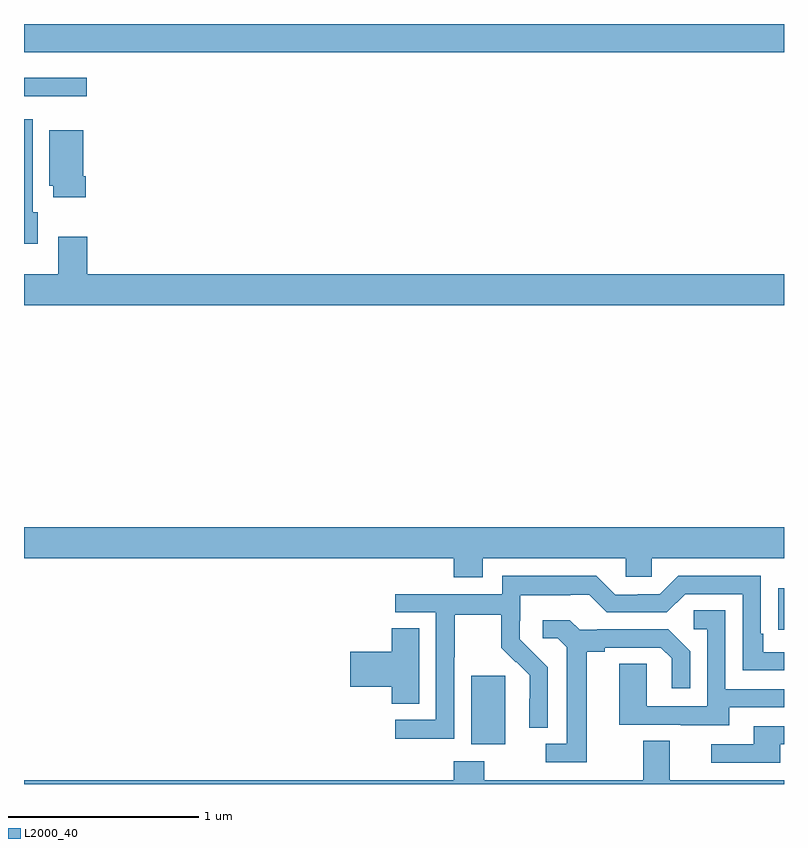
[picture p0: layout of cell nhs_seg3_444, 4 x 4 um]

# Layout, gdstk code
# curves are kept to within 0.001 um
import gdstk
lib = gdstk.Library(unit=1e-6, precision=1e-09)
def R(c, l, rs):  # rectangles x0, y0, x1, y1
    for r in rs: c.add(gdstk.rectangle(r[:2], r[2:], *l))
def P(c, l, *ps):  # polygons
    for p in ps: c.add(gdstk.Polygon(p, *l))
L2000_40 = (2000, 40)

nhs_seg3_444 = lib.new_cell('nhs_seg3_444')
R(nhs_seg3_444, L2000_40, [(135.353,694.61,135.532,694.971), (136.969,695.212,137,695.431), (133,698.019,133.33,698.116), (133,698.252,137,698.4)])
P(nhs_seg3_444, L2000_40, [(133.072,697.41),(133.045,697.41),(133.045,697.9),(133,697.9),(133,697.244),(133.072,697.244)],
  [(133.325,697.6),(133.312,697.6),(133.312,697.84),(133.133,697.84),(133.133,697.548),(133.154,697.548),(133.154,697.488),(133.325,697.488)],
  [(137,697.084),(133.334,697.084),(133.334,697.279),(133.181,697.279),(133.181,697.084),(133,697.084),(133,696.92),(137,696.92)],
  [(135.415,695.588),(136.167,695.588),(136.167,695.49),(136.305,695.49),(136.305,695.588),(137,695.588),(137,695.752),(133,695.752),(133,695.588),(135.263,695.588),(135.263,695.489),(135.415,695.489)],
  [(135.264,695.068),(135.267,695.068),(135.267,695.292),(135.511,695.292),(135.511,695.117),(135.588,695.04),(135.591,695.043),(135.662,694.973),(135.662,694.85),(135.66,694.85),(135.66,694.696),(135.756,694.696),(135.756,695.014),(135.61,695.162),(135.61,695.259),(135.612,695.259),(135.612,695.393),(135.875,695.393),(135.875,695.397),(135.975,695.397),(136.068,695.304),(136.383,695.304),(136.479,695.4),(136.782,695.4),(136.782,694.998),(137,694.998),(137,695.094),(136.891,695.094),(136.891,695.191),(136.878,695.191),(136.878,695.496),(136.443,695.496),(136.347,695.4),(136.229,695.4),(136.229,695.397),(136.113,695.397),(136.013,695.497),(135.516,695.497),(135.516,695.4),(134.955,695.4),(134.955,695.304),(135.168,695.304),(135.168,694.737),(134.955,694.737),(134.955,694.639),(135.264,694.639)],
  [(136.711,694.803),(137,694.803),(137,694.899),(136.692,694.899),(136.692,695.315),(136.524,695.315),(136.524,695.214),(136.596,695.214),(136.596,694.809),(136.278,694.809),(136.278,695.033),(136.133,695.033),(136.133,694.713),(136.457,694.713),(136.457,694.709),(136.711,694.709)],
  [(135.961,695.096),(136.057,695.096),(136.057,695.118),(136.352,695.118),(136.409,695.061),(136.409,694.905),(136.506,694.905),(136.506,695.098),(136.39,695.214),(136.018,695.214),(136.018,695.211),(135.924,695.211),(135.872,695.263),(135.729,695.263),(135.729,695.166),(135.81,695.166),(135.857,695.119),(135.857,694.611),(135.747,694.611),(135.747,694.515),(135.961,694.515)],
  [(135.079,695.219),(134.936,695.219),(134.936,695.096),(134.718,695.096),(134.718,694.913),(134.936,694.913),(134.936,694.822),(135.079,694.822)],
  [(136.981,694.608),(137,694.608),(137,694.704),(136.841,694.704),(136.841,694.608),(136.617,694.608),(136.617,694.512),(136.981,694.512)],
  [(137,694.42),(136.399,694.42),(136.399,694.628),(136.259,694.628),(136.259,694.42),(135.423,694.42),(135.423,694.519),(135.263,694.519),(135.263,694.42),(133,694.42),(133,694.4),(137,694.4)])

lib.write_gds('nhs_seg3_444.gds')
